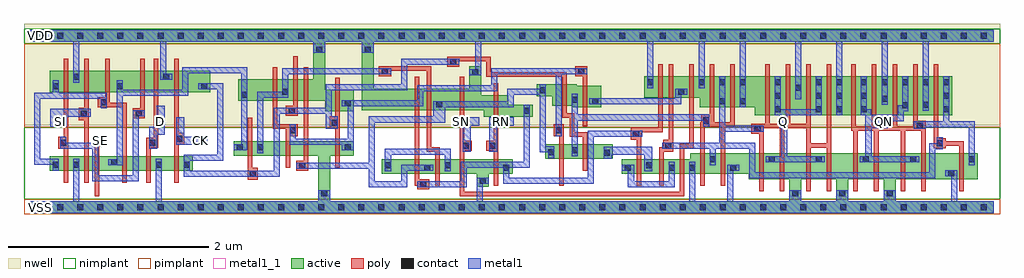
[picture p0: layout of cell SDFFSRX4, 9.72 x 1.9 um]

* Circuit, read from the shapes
.subckt SDFFSRX4 CK D Q QN RN SE SI SN VDD VSS
M1 VSS SE n1 VSS nfet w=0.145u l=0.045u
M2 n2 SI VSS VSS nfet w=0.145u l=0.045u
M3 n3 SE n2 VSS nfet w=0.145u l=0.045u
M4 n4 n1 n3 VSS nfet w=0.145u l=0.045u
M5 VSS D n4 VSS nfet w=0.145u l=0.045u
M6 n5 CK VSS VSS nfet w=0.145u l=0.045u
M7 n6 n5 n3 VSS nfet w=0.145u l=0.045u
M8 n7 n8 n6 VSS nfet w=0.145u l=0.045u
M9 VSS n9 n7 VSS nfet w=0.145u l=0.045u
M10 n8 n5 VSS VSS nfet w=0.145u l=0.045u
M11 n9 n10 n11 VSS nfet w=0.145u l=0.045u
M12 n11 n6 n9 VSS nfet w=0.145u l=0.045u
M13 VSS SN n11 VSS nfet w=0.145u l=0.045u
M14 n10 RN VSS VSS nfet w=0.145u l=0.045u
M15 n12 n8 n9 VSS nfet w=0.145u l=0.045u
M16 n13 n5 n12 VSS nfet w=0.145u l=0.045u
M17 n13 n10 n14 VSS nfet w=0.145u l=0.045u
M18 n14 n15 n13 VSS nfet w=0.145u l=0.045u
M19 VSS SN n14 VSS nfet w=0.145u l=0.045u
M20 n15 n12 VSS VSS nfet w=0.205u l=0.045u m=2
M21 Q n15 VSS VSS nfet w=0.26u l=0.045u m=4
M22 QN n16 VSS VSS nfet w=0.26u l=0.045u m=4
M23 n16 n15 VSS VSS nfet w=0.26u l=0.045u
M24 VDD SE n1 VDD pfet w=0.215u l=0.045u
M25 n17 SI VDD VDD pfet w=0.215u l=0.045u
M26 n3 n1 n17 VDD pfet w=0.215u l=0.045u
M27 n18 SE n3 VDD pfet w=0.215u l=0.045u
M28 VDD D n18 VDD pfet w=0.215u l=0.045u
M29 n5 CK VDD VDD pfet w=0.215u l=0.045u
M30 n6 n8 n3 VDD pfet w=0.215u l=0.045u
M31 n19 n5 n6 VDD pfet w=0.215u l=0.045u
M32 VDD n9 n19 VDD pfet w=0.215u l=0.045u
M33 n8 n5 VDD VDD pfet w=0.215u l=0.045u
M34 n20 n10 VDD VDD pfet w=0.215u l=0.045u
M35 n9 n6 n20 VDD pfet w=0.215u l=0.045u
M36 VDD SN n9 VDD pfet w=0.215u l=0.045u
M37 n10 RN VDD VDD pfet w=0.215u l=0.045u
M38 n12 n5 n9 VDD pfet w=0.215u l=0.045u
M39 n21 n8 n12 VDD pfet w=0.215u l=0.045u
M40 n22 n10 VDD VDD pfet w=0.215u l=0.045u
M41 n21 n15 n22 VDD pfet w=0.215u l=0.045u
M42 VDD SN n21 VDD pfet w=0.215u l=0.045u
M43 n15 n12 VDD VDD pfet w=0.31u l=0.045u m=2
M44 Q n15 VDD VDD pfet w=0.39u l=0.045u m=4
M45 QN n16 VDD VDD pfet w=0.39u l=0.045u m=4
M46 n16 n15 VDD VDD pfet w=0.39u l=0.045u
.ends

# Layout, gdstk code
import gdstk
lib = gdstk.Library(unit=1e-6, precision=5e-10)
def R(c, l, rs):  # rectangles x0, y0, x1, y1
    for r in rs: c.add(gdstk.rectangle(r[:2], r[2:], *l))
def A(c, l, x, y, w, h, nx, ny, dx, dy):  # array of equal rectangles
    R(c, l, [(x+i*dx, y+j*dy, x+i*dx+w, y+j*dy+h) for i in range(nx) for j in range(ny)])
def P(c, l, *ps):  # polygons
    for p in ps: c.add(gdstk.Polygon(p, *l))
active = (1, 0)
nwell = (2, 0)
poly = (3, 0)
nimplant = (4, 0)
pimplant = (5, 0)
contact = (6, 0)
metal1 = (7, 0)
metal1_1 = (7, 1)

sdffsrx4 = lib.new_cell('SDFFSRX4')
R(sdffsrx4, active, [(0.195,0.365,1.62,0.51), (5.13,0.485,5.805,0.63), (0.195,1.145,1.795,1.36)])
P(sdffsrx4, active, [(0,1.77),(9.6,1.77),(9.6,1.65),(3.425,1.65),(3.425,1.18),(4.375,1.18),(4.375,1.405),(4.495,1.405),(4.495,1.115),(4.765,1.115),(4.765,1.02),(5.005,1.02),(5.005,0.9),(4.52,0.9),(4.52,0.965),(3.305,0.965),(3.305,1.65),(2.94,1.65),(2.94,1.17),(3.225,1.17),(3.225,0.955),(2.94,0.955),(2.94,1.06),(2.075,1.06),(2.075,1.275),(2.82,1.275),(2.82,1.65),(0,1.65)],
  [(6.115,1.305),(9.185,1.305),(9.185,0.915),(7.22,0.915),(7.22,0.995),(6.67,0.995),(6.67,1.09),(6.115,1.09)],
  [(5.045,1.225),(5.445,1.225),(5.445,1.21),(5.69,1.21),(5.69,0.995),(5.405,0.995),(5.405,1.01),(5.2,1.01),(5.2,1.105),(5.045,1.105)],
  [(2.03,0.66),(3.225,0.66),(3.225,0.515),(2.99,0.515),(2.99,0.06),(7.56,0.06),(7.56,0.28),(7.68,0.28),(7.68,0.06),(8.03,0.06),(8.03,0.28),(8.15,0.28),(8.15,0.06),(8.5,0.06),(8.5,0.28),(7.16,0.28),(7.16,0.335),(5.895,0.335),(5.895,0.48),(6.575,0.48),(6.575,0.54),(9.44,0.54),(9.44,0.28),(8.62,0.28),(8.62,0.06),(9.6,0.06),(9.6,-0.06),(0,-0.06),(0,0.06),(2.87,0.06),(2.87,0.515),(2.03,0.515)],
  [(3.505,0.48),(4.805,0.48),(4.805,0.335),(4.57,0.335),(4.57,0.205),(4.45,0.205),(4.45,0.335),(3.505,0.335)])
R(sdffsrx4, nwell, [(-0.06,0.82,9.66,1.83)])
P(sdffsrx4, poly, [(0.335,1.48),(0.38,1.48),(0.38,0.245),(0.335,0.245),(0.335,0.585),(0.28,0.585),(0.28,0.705),(0.335,0.705)],
  [(0.54,1.48),(0.585,1.48),(0.585,0.245),(0.54,0.245),(0.54,0.87),(0.485,0.87),(0.485,0.99),(0.54,0.99)],
  [(0.75,1.48),(0.795,1.48),(0.795,1.04),(0.965,1.04),(0.965,0.245),(0.92,0.245),(0.92,0.995),(0.675,0.995),(0.675,1.095),(0.75,1.095)],
  [(1.1,1.48),(1.145,1.48),(1.145,0.885),(1.025,0.885),(1.025,0.985),(1.1,0.985)],
  [(1.23,1.48),(1.275,1.48),(1.275,0.595),(1.2,0.595),(1.2,0.245),(1.155,0.245),(1.155,0.695),(1.23,0.695)],
  [(1.435,1.48),(1.48,1.48),(1.48,0.745),(1.535,0.745),(1.535,0.625),(1.48,0.625),(1.48,0.245),(1.435,0.245)],
  [(2.415,1.395),(2.46,1.395),(2.46,0.83),(2.665,0.83),(2.665,0.71),(2.59,0.71),(2.59,0.395),(2.545,0.395),(2.545,0.785),(2.415,0.785)],
  [(2.62,1.505),(2.665,1.505),(2.665,0.91),(2.545,0.91),(2.545,1.01),(2.62,1.01)],
  [(2.725,1.395),(2.77,1.395),(2.77,0.365),(2.65,0.365),(2.65,0.465),(2.725,0.465)],
  [(4.155,1.5),(4.59,1.5),(4.59,1.345),(5.345,1.345),(5.345,0.935),(5.42,0.935),(5.42,0.75),(5.55,0.75),(5.55,0.365),(5.505,0.365),(5.505,0.705),(5.375,0.705),(5.375,0.89),(5.3,0.89),(5.3,1.3),(4.545,1.3),(4.545,1.455),(4.275,1.455),(4.275,1.4),(4.155,1.4)],
  [(3.04,1.29),(3.085,1.29),(3.085,0.395),(3.04,0.395),(3.04,0.785),(2.985,0.785),(2.985,0.905),(3.04,0.905)],
  [(3.475,1.405),(3.995,1.405),(3.995,0.6),(4.08,0.6),(4.08,0.215),(4.035,0.215),(4.035,0.555),(3.95,0.555),(3.95,1.36),(3.595,1.36),(3.595,1.305),(3.475,1.305)],
  [(3.83,1.3),(3.875,1.3),(3.875,0.28),(3.975,0.28),(3.975,0.18),(3.855,0.18),(3.855,0.215),(3.83,0.215)],
  [(5.43,1.405),(5.55,1.405),(5.55,0.81),(5.505,0.81),(5.505,1.305),(5.43,1.305)],
  [(6.255,1.425),(6.3,1.425),(6.3,0.75),(6.085,0.75),(6.085,0.215),(6.04,0.215),(6.04,0.675),(5.985,0.675),(5.985,0.795),(6.255,0.795)],
  [(6.36,1.425),(6.405,1.425),(6.405,0.555),(6.31,0.555),(6.31,0.215),(6.265,0.215),(6.265,0.6),(6.305,0.6),(6.305,0.675),(6.36,0.675)],
  [(4.28,1.3),(4.325,1.3),(4.325,0.665),(4.4,0.665),(4.4,0.565),(4.325,0.565),(4.325,0.155),(6.47,0.155),(6.47,0.635),(6.565,0.635),(6.565,1.425),(6.61,1.425),(6.61,0.59),(6.515,0.59),(6.515,0.11),(4.28,0.11)],
  [(6.77,1.425),(6.815,1.425),(6.815,0.85),(6.975,0.85),(6.975,1.425),(7.02,1.425),(7.02,0.805),(6.925,0.805),(6.925,0.215),(6.88,0.215),(6.88,0.805),(6.72,0.805),(6.72,0.215),(6.675,0.215),(6.675,0.85),(6.685,0.85),(6.685,0.925),(6.77,0.925)],
  [(7.32,1.425),(7.365,1.425),(7.365,0.835),(7.525,0.835),(7.525,1.425),(7.57,1.425),(7.57,0.835),(7.73,0.835),(7.73,1.425),(7.775,1.425),(7.775,0.64),(7.935,0.64),(7.935,1.425),(7.98,1.425),(7.98,0.16),(7.935,0.16),(7.935,0.595),(7.775,0.595),(7.775,0.16),(7.73,0.16),(7.73,0.79),(7.51,0.79),(7.51,0.16),(7.465,0.16),(7.465,0.79),(7.305,0.79),(7.305,0.16),(7.26,0.16),(7.26,0.735),(7.185,0.735),(7.185,0.835),(7.32,0.835)],
  [(8.18,1.425),(8.225,1.425),(8.225,0.81),(8.385,0.81),(8.385,1.425),(8.43,1.425),(8.43,0.81),(8.59,0.81),(8.59,1.425),(8.635,1.425),(8.635,0.81),(8.795,0.81),(8.795,1.425),(8.84,1.425),(8.84,0.865),(8.92,0.865),(8.92,0.16),(8.875,0.16),(8.875,0.765),(8.715,0.765),(8.715,0.16),(8.67,0.16),(8.67,0.765),(8.45,0.765),(8.45,0.16),(8.405,0.16),(8.405,0.765),(8.245,0.765),(8.245,0.16),(8.2,0.16),(8.2,0.765),(8.18,0.765)],
  [(9,1.425),(9.045,1.425),(9.045,0.69),(9.12,0.69),(9.12,0.66),(9.3,0.66),(9.3,0.16),(9.255,0.16),(9.255,0.615),(9.12,0.615),(9.12,0.59),(9,0.59)],
  [(4.62,1.235),(4.665,1.235),(4.665,0.215),(4.62,0.215),(4.62,0.565),(4.545,0.565),(4.545,0.665),(4.62,0.665)],
  [(5.215,0.83),(5.315,0.83),(5.315,0.215),(5.27,0.215),(5.27,0.71),(5.215,0.71)],
  [(0.645,0.705),(0.765,0.705),(0.765,0.605),(0.69,0.605),(0.69,0.11),(0.645,0.11)],
  [(2.17,0.89),(2.215,0.89),(2.215,0.395),(2.27,0.395),(2.27,0.275),(2.17,0.275)])
R(sdffsrx4, nimplant, [(-0.06,0.08,9.66,0.8), (-0.06,1.63,9.66,1.78)])
R(sdffsrx4, pimplant, [(-0.06,-0.07,9.66,0.08), (-0.06,0.8,9.66,1.63)])
A(sdffsrx4, contact, 0.07, -0.03, 0.06, 0.06, 48, 2, 0.2, 1.71)
A(sdffsrx4, contact, 7.59, 0.11, 0.06, 0.06, 3, 1, 0.47, 0)
A(sdffsrx4, contact, 7.355, 0.45, 0.06, 0.06, 4, 1, 0.47, 0)
A(sdffsrx4, contact, 7.415, 0.945, 0.06, 0.06, 1, 3, 0, 0.135)
A(sdffsrx4, contact, 7.825, 0.945, 0.06, 0.06, 1, 3, 0, 0.135)
A(sdffsrx4, contact, 8.03, 0.945, 0.06, 0.06, 1, 3, 0, 0.135)
A(sdffsrx4, contact, 6.66, 1.215, 0.06, 0.06, 3, 1, 0.205, 0)
A(sdffsrx4, contact, 8.275, 1.215, 0.06, 0.06, 5, 1, 0.205, 0)
R(sdffsrx4, contact, [(2.9,0.11,2.96,0.17), (3.885,0.2,3.945,0.26), (4.48,0.235,4.54,0.295), (2.19,0.305,2.25,0.365), (9.145,0.31,9.205,0.37), (3.925,0.365,3.985,0.425), (4.715,0.365,4.775,0.425), (5.925,0.365,5.985,0.425), (6.36,0.365,6.42,0.425), (6.565,0.365,6.625,0.425), (6.975,0.365,7.035,0.425), (2.68,0.385,2.74,0.445), (3.535,0.39,3.595,0.45), (4.13,0.39,4.19,0.45), (6.135,0.39,6.195,0.45), (0.225,0.395,0.285,0.455), (0.43,0.395,0.49,0.455), (1.25,0.395,1.31,0.455), (1.53,0.395,1.59,0.455), (0.81,0.42,0.87,0.48), (6.77,0.45,6.83,0.51), (9.35,0.45,9.41,0.51), (5.715,0.515,5.775,0.575), (5.16,0.52,5.22,0.58), (5.395,0.54,5.455,0.6), (2.06,0.57,2.12,0.63), (2.265,0.57,2.325,0.63), (3.135,0.57,3.195,0.63), (4.31,0.585,4.37,0.645), (4.575,0.585,4.635,0.645), (6.325,0.585,6.385,0.645), (9.03,0.61,9.09,0.67), (0.3,0.615,0.36,0.675), (1.185,0.615,1.245,0.675), (0.675,0.625,0.735,0.685), (1.455,0.655,1.515,0.715), (6.005,0.705,6.065,0.765), (2.585,0.74,2.645,0.8), (5.235,0.74,5.295,0.8), (7.215,0.755,7.275,0.815), (8.83,0.785,8.89,0.845), (3.005,0.815,3.065,0.875), (6.705,0.835,6.765,0.895), (0.505,0.9,0.565,0.96), (1.055,0.905,1.115,0.965), (2.575,0.93,2.635,0.99), (4.915,0.93,4.975,0.99), (8.275,0.945,8.335,1.005), (9.095,0.945,9.155,1.005), (8.685,0.985,8.745,1.045), (8.89,0.99,8.95,1.05), (4.045,0.995,4.105,1.055), (3.135,1.005,3.195,1.065), (0.705,1.015,0.765,1.075), (5.6,1.025,5.66,1.085), (6.865,1.025,6.925,1.085), (7.07,1.025,7.13,1.085), (5.395,1.04,5.455,1.1), (8.48,1.05,8.54,1.11), (8.275,1.08,8.335,1.14), (9.095,1.08,9.155,1.14), (2.105,1.09,2.165,1.15), (2.51,1.12,2.57,1.18), (6.455,1.12,6.515,1.18), (5.075,1.135,5.135,1.195), (7.62,1.16,7.68,1.22), (0.225,1.175,0.285,1.235), (0.865,1.175,0.925,1.235), (1.705,1.175,1.765,1.235), (6.145,1.215,6.205,1.275), (0.43,1.27,0.49,1.33), (1.325,1.27,1.385,1.33), (4.405,1.315,4.465,1.375), (3.505,1.325,3.565,1.385), (5.46,1.325,5.52,1.385), (4.185,1.42,4.245,1.48), (2.85,1.54,2.91,1.6), (3.335,1.54,3.395,1.6)])
P(sdffsrx4, metal1, [(0,1.77),(9.6,1.77),(9.6,1.65),(8.95,1.65),(8.95,0.96),(8.89,0.96),(8.89,1.65),(8.54,1.65),(8.54,1.02),(8.48,1.02),(8.48,1.65),(8.09,1.65),(8.09,0.915),(8.03,0.915),(8.03,1.65),(7.68,1.65),(7.68,1.075),(7.62,1.075),(7.62,1.65),(7.13,1.65),(7.13,0.995),(7.07,0.995),(7.07,1.65),(6.72,1.65),(6.72,1.185),(6.66,1.185),(6.66,1.65),(6.205,1.65),(6.205,1.185),(6.145,1.185),(6.145,1.65),(4.495,1.65),(4.495,1.315),(4.375,1.315),(4.375,1.375),(4.435,1.375),(4.435,1.65),(3.425,1.65),(3.425,1.54),(3.305,1.54),(3.305,1.65),(2.94,1.65),(2.94,1.54),(2.82,1.54),(2.82,1.65),(1.355,1.65),(1.355,1.33),(1.415,1.33),(1.415,1.27),(1.295,1.27),(1.295,1.65),(0.49,1.65),(0.49,1.24),(0.43,1.24),(0.43,1.65),(0,1.65)],
  [(0.225,1.265),(0.285,1.265),(0.285,1.14),(0.765,1.14),(0.765,0.985),(0.705,0.985),(0.705,1.08),(0.1,1.08),(0.1,0.485),(0.285,0.485),(0.285,0.365),(0.225,0.365),(0.225,0.425),(0.04,0.425),(0.04,1.14),(0.225,1.14)],
  [(1.515,1.395),(2.165,1.395),(2.165,0.57),(2.03,0.57),(2.03,0.63),(2.105,0.63),(2.105,1.335),(1.575,1.335),(1.575,1.11),(0.925,1.11),(0.925,0.42),(0.78,0.42),(0.78,0.48),(0.865,0.48),(0.865,1.265),(0.925,1.265),(0.925,1.17),(1.515,1.17)],
  [(3.695,1.48),(4.275,1.48),(4.275,1.42),(3.755,1.42),(3.755,1.165),(3.005,1.165),(3.005,0.905),(3.065,0.905),(3.065,0.785),(2.945,0.785),(2.945,0.93),(2.485,0.93),(2.485,0.305),(1.53,0.305),(1.53,0.525),(1.865,0.525),(1.865,1.175),(1.675,1.175),(1.675,1.235),(1.925,1.235),(1.925,0.465),(1.59,0.465),(1.59,0.365),(2.425,0.365),(2.425,0.99),(2.945,0.99),(2.945,1.225),(3.695,1.225)],
  [(2.51,1.385),(3.595,1.385),(3.595,1.325),(2.57,1.325),(2.57,1.09),(2.325,1.09),(2.325,0.54),(2.265,0.54),(2.265,1.15),(2.51,1.15)],
  [(0.2,0.98),(0.605,0.98),(0.605,0.9),(0.365,0.9),(0.365,0.805),(0.2,0.805)],
  [(1.025,0.965),(1.145,0.965),(1.145,0.905),(1.085,0.905),(1.085,0.26),(0.62,0.26),(0.62,0.585),(0.3,0.585),(0.3,0.705),(0.36,0.705),(0.36,0.645),(0.62,0.645),(0.62,0.705),(0.765,0.705),(0.765,0.625),(0.68,0.625),(0.68,0.32),(1.025,0.32)],
  [(0.43,0.485),(0.49,0.485),(0.49,0.06),(1.25,0.06),(1.25,0.485),(1.31,0.485),(1.31,0.06),(2.87,0.06),(2.87,0.17),(2.99,0.17),(2.99,0.06),(4.45,0.06),(4.45,0.295),(4.57,0.295),(4.57,0.235),(4.51,0.235),(4.51,0.06),(6.565,0.06),(6.565,0.455),(6.625,0.455),(6.625,0.06),(6.945,0.06),(6.945,0.425),(7.065,0.425),(7.065,0.365),(7.005,0.365),(7.005,0.06),(7.56,0.06),(7.56,0.17),(7.68,0.17),(7.68,0.06),(8.03,0.06),(8.03,0.17),(8.15,0.17),(8.15,0.06),(8.5,0.06),(8.5,0.17),(8.62,0.17),(8.62,0.06),(9.175,0.06),(9.175,0.31),(9.115,0.31),(9.115,0.37),(9.235,0.37),(9.235,0.06),(9.6,0.06),(9.6,-0.06),(0,-0.06),(0,0.06),(0.43,0.06)],
  [(1.26,1.01),(1.34,1.01),(1.34,0.725),(1.265,0.725),(1.265,0.585),(1.185,0.585),(1.185,0.805),(1.26,0.805)],
  [(1.455,0.895),(1.535,0.895),(1.535,0.705),(1.765,0.705),(1.765,0.625),(1.455,0.625)],
  [(4.595,1.385),(5.55,1.385),(5.55,1.325),(5.295,1.325),(5.295,0.71),(5.235,0.71),(5.235,1.325),(4.655,1.325),(4.655,1.155),(3.915,1.155),(3.915,1.005),(3.225,1.005),(3.225,0.57),(3.105,0.57),(3.105,0.625),(2.585,0.625),(2.585,0.83),(2.645,0.83),(2.645,0.685),(3.165,0.685),(3.165,1.005),(3.105,1.005),(3.105,1.065),(3.855,1.065),(3.855,1.215),(4.595,1.215)],
  [(5.075,1.225),(5.135,1.225),(5.135,0.61),(5.22,0.61),(5.22,0.49),(5.16,0.49),(5.16,0.55),(5.075,0.55),(5.075,1.12),(4.815,1.12),(4.815,0.995),(4.135,0.995),(4.135,0.845),(3.435,0.845),(3.435,0.26),(3.695,0.26),(3.695,0.425),(4.015,0.425),(4.015,0.365),(3.755,0.365),(3.755,0.2),(3.375,0.2),(3.375,0.385),(2.65,0.385),(2.65,0.445),(3.375,0.445),(3.375,0.905),(4.015,0.905),(4.015,1.055),(4.755,1.055),(4.755,1.18),(5.075,1.18)],
  [(4.915,1.02),(4.975,1.02),(4.975,0.395),(4.775,0.395),(4.775,0.295),(5.555,0.295),(5.555,0.765),(6.095,0.765),(6.095,0.705),(5.615,0.705),(5.615,0.235),(4.715,0.235),(4.715,0.395),(4.35,0.395),(4.35,0.2),(3.855,0.2),(3.855,0.26),(4.29,0.26),(4.29,0.455),(4.915,0.455)],
  [(4.235,0.895),(4.475,0.895),(4.475,0.815),(4.39,0.815),(4.39,0.555),(4.31,0.555),(4.31,0.815),(4.235,0.815)],
  [(4.575,0.895),(4.815,0.895),(4.815,0.815),(4.655,0.815),(4.655,0.555),(4.575,0.555)],
  [(3.535,0.585),(4.19,0.585),(4.19,0.36),(4.13,0.36),(4.13,0.525),(3.595,0.525),(3.595,0.36),(3.535,0.36)],
  [(5.395,1.13),(5.455,1.13),(5.455,0.925),(6.765,0.925),(6.765,0.805),(6.705,0.805),(6.705,0.865),(5.455,0.865),(5.455,0.51),(5.395,0.51)],
  [(6.425,1.18),(6.545,1.18),(6.545,1.12),(6.485,1.12),(6.485,1.025),(5.57,1.025),(5.57,1.085),(6.425,1.085)],
  [(6.865,1.305),(6.925,1.305),(6.925,0.815),(7.305,0.815),(7.305,0.755),(6.925,0.755),(6.925,0.645),(7.225,0.645),(7.225,0.35),(8.955,0.35),(8.955,0.64),(9.03,0.64),(9.03,0.7),(9.09,0.7),(9.09,0.58),(9.015,0.58),(9.015,0.29),(7.165,0.29),(7.165,0.585),(6.83,0.585),(6.83,0.42),(6.77,0.42),(6.77,0.585),(6.295,0.585),(6.295,0.645),(6.865,0.645)],
  [(7.415,1.305),(7.475,1.305),(7.475,0.975),(7.825,0.975),(7.825,1.305),(7.885,1.305),(7.885,0.915),(7.54,0.915),(7.54,0.51),(7.915,0.51),(7.915,0.45),(7.325,0.45),(7.325,0.51),(7.48,0.51),(7.48,0.79),(7.46,0.79),(7.46,0.915),(7.415,0.915)],
  [(8.275,1.305),(8.335,1.305),(8.335,0.975),(8.38,0.975),(8.38,0.92),(8.64,0.92),(8.64,1.015),(8.685,1.015),(8.685,1.305),(8.745,1.305),(8.745,0.955),(8.7,0.955),(8.7,0.86),(8.54,0.86),(8.54,0.79),(8.385,0.79),(8.385,0.51),(8.855,0.51),(8.855,0.45),(8.265,0.45),(8.265,0.51),(8.32,0.51),(8.32,0.915),(8.275,0.915)],
  [(9.095,1.305),(9.155,1.305),(9.155,0.86),(9.41,0.86),(9.41,0.42),(9.35,0.42),(9.35,0.8),(8.92,0.8),(8.92,0.785),(8.8,0.785),(8.8,0.86),(9.095,0.86)],
  [(5.715,0.605),(6.195,0.605),(6.195,0.36),(6.115,0.36),(6.115,0.525),(5.795,0.525),(5.795,0.485),(5.715,0.485)],
  [(5.895,0.425),(6.015,0.425),(6.015,0.26),(6.36,0.26),(6.36,0.455),(6.42,0.455),(6.42,0.2),(5.955,0.2),(5.955,0.365),(5.895,0.365)])
R(sdffsrx4, metal1_1, [(0.06,-0.04,0.14,0.04), (0.66,0.625,0.74,0.705), (1.66,0.625,1.74,0.705), (0.26,0.815,0.34,0.895), (1.26,0.815,1.34,0.895), (4.26,0.815,4.34,0.895), (4.66,0.815,4.74,0.895), (7.46,0.815,7.54,0.895), (8.46,0.815,8.54,0.895), (0.06,1.67,0.14,1.75)])
sdffsrx4.add(gdstk.Label('QN', (8.5,0.855), layer=7, texttype=1))
sdffsrx4.add(gdstk.Label('Q', (7.5,0.855), layer=7, texttype=1))
sdffsrx4.add(gdstk.Label('RN', (4.7,0.855), layer=7, texttype=1))
sdffsrx4.add(gdstk.Label('SN', (4.3,0.855), layer=7, texttype=1))
sdffsrx4.add(gdstk.Label('CK', (1.7,0.665), layer=7, texttype=1))
sdffsrx4.add(gdstk.Label('D', (1.3,0.855), layer=7, texttype=1))
sdffsrx4.add(gdstk.Label('SI', (0.3,0.855), layer=7, texttype=1))
sdffsrx4.add(gdstk.Label('SE', (0.7,0.665), layer=7, texttype=1))
sdffsrx4.add(gdstk.Label('VDD', (0.1,1.71), layer=7, texttype=1))
sdffsrx4.add(gdstk.Label('VSS', (0.1,0), layer=7, texttype=1))
sdffsrx4.add(gdstk.Label('SDFFSRX4', (0,0), layer=63, texttype=0))

lib.write_gds('SDFFSRX4.gds')
